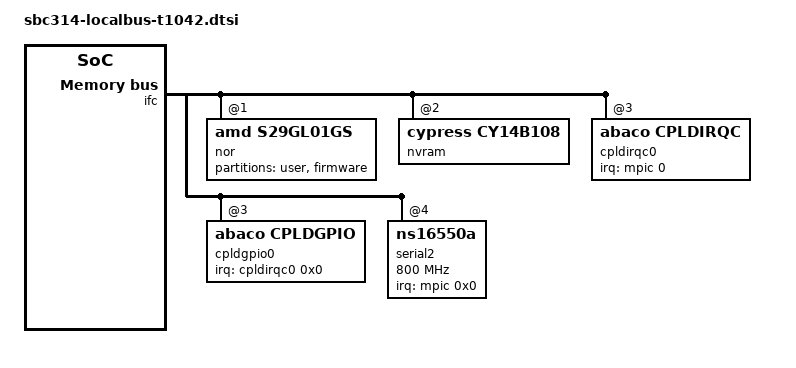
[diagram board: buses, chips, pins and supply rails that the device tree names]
/*
 * Copyright 2014 Freescale Semiconductor Inc.
 *
 * Redistribution and use in source and binary forms, with or without
 * modification, are permitted provided that the following conditions are met:
 *     * Redistributions of source code must retain the above copyright
 *	 notice, this list of conditions and the following disclaimer.
 *     * Redistributions in binary form must reproduce the above copyright
 *	 notice, this list of conditions and the following disclaimer in the
 *	 documentation and/or other materials provided with the distribution.
 *     * Neither the name of Freescale Semiconductor nor the
 *	 names of its contributors may be used to endorse or promote products
 *	 derived from this software without specific prior written permission.
 *
 *
 * ALTERNATIVELY, this software may be distributed under the terms of the
 * GNU General Public License ("GPL") as published by the Free Software
 * Foundation, either version 2 of that License or (at your option) any
 * later version.
 *
 * THIS SOFTWARE IS PROVIDED BY Freescale Semiconductor "AS IS" AND ANY
 * EXPRESS OR IMPLIED WARRANTIES, INCLUDING, BUT NOT LIMITED TO, THE IMPLIED
 * WARRANTIES OF MERCHANTABILITY AND FITNESS FOR A PARTICULAR PURPOSE ARE
 * DISCLAIMED. IN NO EVENT SHALL Freescale Semiconductor BE LIABLE FOR ANY
 * DIRECT, INDIRECT, INCIDENTAL, SPECIAL, EXEMPLARY, OR CONSEQUENTIAL DAMAGES
 * (INCLUDING, BUT NOT LIMITED TO, PROCUREMENT OF SUBSTITUTE GOODS OR SERVICES;
 * LOSS OF USE, DATA, OR PROFITS; OR BUSINESS INTERRUPTION) HOWEVER CAUSED AND
 * ON ANY THEORY OF LIABILITY, WHETHER IN CONTRACT, STRICT LIABILITY, OR TORT
 * (INCLUDING NEGLIGENCE OR OTHERWISE) ARISING IN ANY WAY OUT OF THE USE OF THIS
 * SOFTWARE, EVEN IF ADVISED OF THE POSSIBILITY OF SUCH DAMAGE.
 */

/*
 * PPC11A Device Tree Source
 * Copyright (C) 2018 Abaco Systems, Inc
 *
 * Adapted from T1042 Device Tree Source
*/


/ {
	ifc: localbus@ffe124000 {
		reg = <0xf 0xfe124000 0 0x2000>;
		/* numbered by chip select */
		ranges = <1 0 0xf 0xe0000000 0x10000000
		          2 0 0xf 0xf2000000 0x80000
			  3 0 0xf 0xf0000000 0x10000
		          4 0 0xf 0xf0020000 0x100>;

		nor@1,0 {
			#address-cells = <1>;
			#size-cells = <1>;
			/* the part a stacked S70 with 2 of these inside */
			compatible = "amd,s29gl01gs", "cfi-flash";
			reg = <0x1 0x0 0x10000000>;
			bank-width = <2>;
			device-width = <1>;

			/* the top 0xf000000  are the 2 boot areas (each split into 2 )  */
			partition@0 {
				label = "user";
				reg = <0x00000000 0x0f000000>;
			};

			partition@f000000 {
				label = "firmware";
				reg = <0x0f000000 0x01000000>;
				read-only;
			};
		};

		/*SR NVRAM is not supported in PPC64
		leaving in DTB for future use and completeness*/
		nvram@2,10000 {
			device_type = "nvram";
			compatible = "cypress,cy14b108";
			/* reserve the first 10000 for U-Boot, vxworks etc */
			reg = <0x2 0x10000 0x70000>;
		};

		cpldirqc0: interrupt-controller@3,6E0 {
			compatible = "abaco,cpldirqc";
			reg = <0x3 0x6E0 0x7>;
			#interrupt-cells = <1>;
			interrupt-parent = <&mpic>;
			interrupts = <0 1 0 0>;	/* interrupt 0 low level sensitve */
			interrupt-controller;
		};

		cpldgpio0: gpio-controller@3,670 {
			compatible = "abaco,cpldgpio";
			reg = <0x3 0x670 0xC>;
			gpio-controller;
			#gpio-cells = <2>;
			interrupts = <0x0>;
			interrupt-parent = <&cpldirqc0>;
		};

		serial2: serial@4,0 {
			#address-cells = <1>;
			#size-cells = <1>;
			device-type = "serial";
			compatible = "ns16550a";
			reg = <0x4 0x0 0x100>;
			clock-frequency = <800000000>;
			interrupts = <0x0>;
			interrupt-parent = <&mpic>;
		};
	};
};
